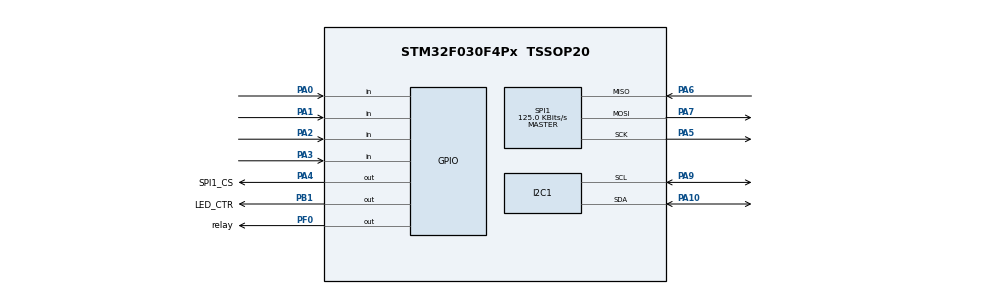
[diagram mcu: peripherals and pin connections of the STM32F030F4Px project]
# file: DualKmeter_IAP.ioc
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I2C1.OwnAddress=0x11<<1
Mcu.Family=STM32F0
Mcu.Name=STM32F030F4Px
Mcu.Package=TSSOP20
NVIC.I2C1_IRQn=true\:0\:0\:false\:false\:true\:true\:true\:true
PA0.GPIO_PuPd=GPIO_PULLUP
PA0.Signal=GPIO_Input
PA1.GPIO_PuPd=GPIO_PULLUP
PA1.Signal=GPIO_Input
PA10.Mode=I2C
PA10.Signal=I2C1_SDA
PA13.Mode=Serial_Wire
PA13.Signal=SYS_SWDIO
PA14.Mode=Serial_Wire
PA14.Signal=SYS_SWCLK
PA2.GPIO_PuPd=GPIO_PULLUP
PA2.Signal=GPIO_Input
PA3.GPIO_PuPd=GPIO_PULLUP
PA3.Signal=GPIO_Input
PA4.GPIO_Label=SPI1_CS
PA4.Signal=GPIO_Output
PA5.Mode=Full_Duplex_Master
PA5.Signal=SPI1_SCK
PA6.Mode=Full_Duplex_Master
PA6.Signal=SPI1_MISO
PA7.Mode=Full_Duplex_Master
PA7.Signal=SPI1_MOSI
PA9.Mode=I2C
PA9.Signal=I2C1_SCL
PB1.GPIO_Label=LED_CTR
PB1.Signal=GPIO_Output
PF0-OSC_IN.GPIO_Label=relay
PF0-OSC_IN.Signal=GPIO_Output
ProjectManager.HeapSize=0x200
ProjectManager.StackSize=0x400
ProjectManager.TargetToolchain=MDK-ARM V5
SPI1.BaudRatePrescaler=SPI_BAUDRATEPRESCALER_64
SPI1.CalculateBaudRate=125.0 KBits/s
SPI1.DataSize=SPI_DATASIZE_8BIT
SPI1.Direction=SPI_DIRECTION_2LINES
SPI1.Mode=SPI_MODE_MASTER
SPI1.VirtualType=VM_MASTER
board=custom

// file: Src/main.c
/* USER CODE BEGIN Header */
/**
  ******************************************************************************
  * @file           : main.c
  * @brief          : Main program body
  ******************************************************************************
  * @attention
  *
  * Copyright (c) 2022 STMicroelectronics.
  * All rights reserved.
  *
  * This software is licensed under terms that can be found in the LICENSE file
  * in the root directory of this software component.
  * If no LICENSE file comes with this software, it is provided AS-IS.
  *
  ******************************************************************************
  */
/* USER CODE END Header */
#include "main.h"

/* USER CODE BEGIN Includes */
#include "MAX31855.h"
#include "i2c_ex.h"
#include <stdio.h>
#include <string.h>
/* USER CODE END Includes */

/* USER CODE BEGIN PD */
#define FIRMWARE_VERSION 1
#define I2C1_ADDR_BASE 0x11
#define APPLICATION_ADDRESS     ((uint32_t)0x08001000)
/* USER CODE END PD */

SPI_HandleTypeDef hspi1;

/* USER CODE BEGIN PV */
volatile uint8_t fm_version = FIRMWARE_VERSION;
volatile float temperature;
volatile float internal_temperature;
uint8_t relay_sel = 0;

volatile uint8_t g_i2c_addr = 0;
volatile uint8_t g_i2c_addr_last = 0;
volatile uint8_t g_i2c_addr_filter = 0;
volatile uint8_t g_i2c_addr_sel = 0;
volatile uint8_t i2c_addr;
volatile float temp_data;
/* USER CODE END PV */

void SystemClock_Config(void);
static void MX_GPIO_Init(void);
static void MX_I2C1_Init(void);
static void MX_SPI1_Init(void);

/* USER CODE BEGIN 0 */
void IAP_Set()
{
	uint8_t i;

	uint32_t *pVecTab=(uint32_t *)(0x20000000);
	//复制中断向量表到SRAM首地址
	for(i = 0; i < 48; i++)
	{
		*(pVecTab++) = *(__IO uint32_t*)(APPLICATION_ADDRESS + (i<<2));
	}
  /* Enable the SYSCFG peripheral clock*/
#if 1 //STM32
  __HAL_RCC_SYSCFG_CLK_ENABLE();
  //重映射 SRAM 地址到 0x00000000
  __HAL_SYSCFG_REMAPMEMORY_SRAM();
#else //AMP32
    RCM_EnableAPB2PeriphClock(RCM_APB2_PERIPH_SYSCFG);
    /* Remap SRAM at 0x00000000 */
    SYSCFG->CFG1_B.MMSEL = SYSCFG_MemoryRemap_SRAM;
#endif
}

void user_i2c1_init(void)
{

  /* USER CODE BEGIN I2C1_Init 0 */

  /* USER CODE END I2C1_Init 0 */

  LL_I2C_InitTypeDef I2C_InitStruct = {0};

  LL_GPIO_InitTypeDef GPIO_InitStruct = {0};

  LL_AHB1_GRP1_EnableClock(LL_AHB1_GRP1_PERIPH_GPIOA);
  /**I2C1 GPIO Configuration
  PA9   ------> I2C1_SCL
  PA10   ------> I2C1_SDA
  */
  GPIO_InitStruct.Pin = LL_GPIO_PIN_9;
  GPIO_InitStruct.Mode = LL_GPIO_MODE_ALTERNATE;
  GPIO_InitStruct.Speed = LL_GPIO_SPEED_FREQ_HIGH;
  GPIO_InitStruct.OutputType = LL_GPIO_OUTPUT_OPENDRAIN;
  GPIO_InitStruct.Pull = LL_GPIO_PULL_NO;
  GPIO_InitStruct.Alternate = LL_GPIO_AF_4;
  LL_GPIO_Init(GPIOA, &GPIO_InitStruct);

  GPIO_InitStruct.Pin = LL_GPIO_PIN_10;
  GPIO_InitStruct.Mode = LL_GPIO_MODE_ALTERNATE;
  GPIO_InitStruct.Speed = LL_GPIO_SPEED_FREQ_HIGH;
  GPIO_InitStruct.OutputType = LL_GPIO_OUTPUT_OPENDRAIN;
  GPIO_InitStruct.Pull = LL_GPIO_PULL_NO;
  GPIO_InitStruct.Alternate = LL_GPIO_AF_4;
  LL_GPIO_Init(GPIOA, &GPIO_InitStruct);

  /* Peripheral clock enable */
  LL_APB1_GRP1_EnableClock(LL_APB1_GRP1_PERIPH_I2C1);

  /* I2C1 interrupt Init */
  NVIC_SetPriority(I2C1_IRQn, 0);
  NVIC_EnableIRQ(I2C1_IRQn);

  /* USER CODE BEGIN I2C1_Init 1 */

  /* USER CODE END I2C1_Init 1 */

  /** I2C Initialization
  */
  LL_I2C_DisableOwnAddress2(I2C1);
  LL_I2C_DisableGeneralCall(I2C1);
  LL_I2C_EnableClockStretching(I2C1);
  I2C_InitStruct.PeripheralMode = LL_I2C_MODE_I2C;
  I2C_InitStruct.Timing = 0x2000090E;
  I2C_InitStruct.AnalogFilter = LL_I2C_ANALOGFILTER_ENABLE;
  I2C_InitStruct.DigitalFilter = 0;
  I2C_InitStruct.OwnAddress1 = (I2C1_ADDR_BASE+g_i2c_addr)<<1;
  I2C_InitStruct.TypeAcknowledge = LL_I2C_ACK;
  I2C_InitStruct.OwnAddrSize = LL_I2C_OWNADDRESS1_7BIT;
  LL_I2C_Init(I2C1, &I2C_InitStruct);
  LL_I2C_EnableAutoEndMode(I2C1);
  LL_I2C_SetOwnAddress2(I2C1, 0, LL_I2C_OWNADDRESS2_NOMASK);
  /* USER CODE BEGIN I2C1_Init 2 */

  /* USER CODE END I2C1_Init 2 */
}

uint8_t read_i2c1_addr(void)
{
  uint8_t i2c1_addr = 0;

  for (int i = 0; i < 4; i++) {
    i2c1_addr |= (!(!!(GPIOA->IDR & (1 << i)))) << i;
  }

  return i2c1_addr;
}

void i2c1_addr_init(void)
{
  uint8_t i2c1_addr = 0;

  for (int i = 0; i < 10; i++) {
    i2c1_addr = read_i2c1_addr();
    if (i2c1_addr != g_i2c_addr_last) {
      g_i2c_addr_last = i2c1_addr;
      g_i2c_addr_filter = 0;

    } else {
      g_i2c_addr_filter++;
      if (g_i2c_addr_filter >= 3) {
        g_i2c_addr_filter = 0;
        g_i2c_addr = i2c1_addr;
        user_i2c1_init();
        g_i2c_addr_sel = 1;
        return;
      }
    }
    HAL_Delay(100);
  }
  MX_I2C1_Init();
  g_i2c_addr_sel = 0;
}

void set_relay(uint8_t k_num)
{
  if (k_num == 0) {
    LL_GPIO_SetOutputPin(relay_GPIO_Port, relay_Pin);
    LL_GPIO_ResetOutputPin(LED_CTR_GPIO_Port, LED_CTR_Pin);
	}
  else if (k_num == 1) {
    LL_GPIO_ResetOutputPin(relay_GPIO_Port, relay_Pin);
    LL_GPIO_SetOutputPin(LED_CTR_GPIO_Port, LED_CTR_Pin);
	}
}

void Slave_Complete_Callback(uint8_t *rx_data, uint16_t len)
{
  char temp_sign_part[2] = {0};
  char temp_integer_part[8] = {0};
  char temp_decimal_part[4] = {0};
  char temp_tx_char[8] = {0};

  if (len == 1 && (rx_data[0] <= 0x07))
  {
	  int32_t temp;
    if (rx_data[0] <= 0x03) {
      temp = ((int32_t)(temperature * 100));
    } else {
      float fahr = ( 9.0 / 5.0 ) * temperature + 32;
      temp = ((int32_t)(fahr * 100));
    }
    i2c1_set_send_data((uint8_t *)&temp, 4);
  }
  else if (len == 1 && ((rx_data[0] >= 0x10) && (rx_data[0] <= 0x17)))
  {
	  int32_t temp;
    if ((rx_data[0] >= 0x10) && (rx_data[0] <= 0x13)) {
      temp = ((int32_t)(internal_temperature * 100));
    } else {
      float fahr = ( 9.0 / 5.0 ) * internal_temperature + 32;
      temp = ((int32_t)(fahr * 100));
    }
    i2c1_set_send_data((uint8_t *)&temp, 4);
  }
  else if (len > 1 && (rx_data[0] == 0x20))
  {
    relay_sel = rx_data[1];
    if (relay_sel >= 1) {
      set_relay(1);
    } else if (relay_sel == 0) {
      set_relay(0);
    }
  }
  else if (len == 1 && (rx_data[0] == 0x20))
  {
    i2c1_set_send_data((uint8_t *)&relay_sel, 1);
  }
  else if (len == 1 && (rx_data[0] == 0x30))
  {
    i2c1_set_send_data((uint8_t *)&Error, 1);
  }
  else if (len == 1 && ((rx_data[0] >= 0x40) && (rx_data[0] <= 0x46)))
  {
	  int32_t temp, dec;

    if (temperature > 0) {
      temp_sign_part[0] = 0x2B;
    } else {
      temp_sign_part[0] = 0x2D;
    }
    temp = ((int32_t)(temperature * 100));
    if (temperature < 0) {
      temp = -temp;
    }
    dec = temp;
    temp = temp / 100;
    dec = dec - temp * 100;
    if (temp < 9999)
      sprintf(temp_integer_part, "%04d", temp);
    if (dec < 99)
      sprintf(temp_decimal_part, "%c%02d", '.', dec);
    memcpy(temp_tx_char, temp_sign_part, 1);
    memcpy(temp_tx_char+1, temp_integer_part, 4);
    memcpy(temp_tx_char+5, temp_decimal_part, 3);
    i2c1_set_send_data((uint8_t *)temp_tx_char, sizeof(temp_tx_char));
  }
  else if (len == 1 && ((rx_data[0] >= 0x50) && (rx_data[0] <= 0x56)))
  {
	  int32_t temp, dec;
    float fahr;

    fahr = ( 9.0 / 5.0 ) * temperature + 32;

    if (fahr > 0) {
      temp_sign_part[0] = 0x2B;
    } else {
      temp_sign_part[0] = 0x2D;
    }
    temp = ((int32_t)(fahr * 100));
    if (fahr < 0) {
      temp = -temp;
    }
    dec = temp;
    temp = temp / 100;

    dec = dec - temp * 100;
    if (temp < 9999)
      sprintf(temp_integer_part, "%04d", temp);
    if (dec < 99)
      sprintf(temp_decimal_part, "%c%02d", '.', dec);
    memcpy(temp_tx_char, temp_sign_part, 1);
    memcpy(temp_tx_char+1, temp_integer_part, 4);
    memcpy(temp_tx_char+5, temp_decimal_part, 3);
    i2c1_set_send_data((uint8_t *)temp_tx_char, sizeof(temp_tx_char));
  }
  else if (len == 1 && ((rx_data[0] >= 0x60) && (rx_data[0] <= 0x66)))
  {
	  int32_t temp, dec;

    if (internal_temperature > 0) {
      temp_sign_part[0] = 0x2B;
    } else {
      temp_sign_part[0] = 0x2D;
    }
    temp = ((int32_t)(internal_temperature * 100));
    if (internal_temperature < 0) {
      temp = -temp;
    }
    dec = temp;
    temp = temp / 100;
    dec = dec - temp * 100;
    if (temp < 9999)
      sprintf(temp_integer_part, "%04d", temp);
    if (dec < 99)
      sprintf(temp_decimal_part, "%c%02d", '.', dec);
    memcpy(temp_tx_char, temp_sign_part, 1);
    memcpy(temp_tx_char+1, temp_integer_part, 4);
    memcpy(temp_tx_char+5, temp_decimal_part, 3);
    i2c1_set_send_data((uint8_t *)temp_tx_char, sizeof(temp_tx_char));
  }
  else if (len == 1 && ((rx_data[0] >= 0x70) && (rx_data[0] <= 0x76)))
  {
	  int32_t temp, dec;
    float fahr;

    fahr = ( 9.0 / 5.0 ) * internal_temperature + 32;

    if (fahr > 0) {
      temp_sign_part[0] = 0x2B;
    } else {
      temp_sign_part[0] = 0x2D;
    }
    temp = ((int32_t)(fahr * 100));
    if (fahr < 0) {
      temp = -temp;
    }
    dec = temp;
    temp = temp / 100;
    dec = dec - temp * 100;
    if (temp < 9999)
      sprintf(temp_integer_part, "%04d", temp);
    if (dec < 99)
      sprintf(temp_decimal_part, "%c%02d", '.', dec);
    memcpy(temp_tx_char, temp_sign_part, 1);
    memcpy(temp_tx_char+1, temp_integer_part, 4);
    memcpy(temp_tx_char+5, temp_decimal_part, 3);
    i2c1_set_send_data((uint8_t *)temp_tx_char, sizeof(temp_tx_char));
  }
  else if (len > 1 && (rx_data[0] == 0x20))
  {
    relay_sel = rx_data[1];
    if (relay_sel >= 1) {
      set_relay(1);
    } else if (relay_sel == 0) {
      set_relay(0);
    }
  }
  else if (len == 1 && (rx_data[0] == 0xFE))
  {
    i2c1_set_send_data((uint8_t *)&fm_version, 1);
  }
}
/* USER CODE END 0 */

int main(void)
{
  /* USER CODE BEGIN 1 */
  IAP_Set();
  /* USER CODE END 1 */

  /* MCU Configuration--------------------------------------------------------*/

  /* Reset of all peripherals, Initializes the Flash interface and the Systick. */
  HAL_Init();

  /* Configure the system clock */
  SystemClock_Config();

  /* Initialize all configured peripherals */
  MX_GPIO_Init();
  MX_I2C1_Init();
  MX_SPI1_Init();
  /* USER CODE BEGIN 2 */
  set_relay(0);
	i2c1_addr_init();
  if (g_i2c_addr_sel) {
    i2c_addr = (I2C1_ADDR_BASE+g_i2c_addr)<<1;
  } else {
    i2c_addr = (I2C1_ADDR_BASE)<<1;
  }
  i2c1_it_enable();
  /* USER CODE END 2 */

  /* Infinite loop */
  /* USER CODE BEGIN WHILE */
  while (1)
  {
    temp_data = temperature;
    temperature = Max31855_Read_Temp_With_Filter();
    if (temperature == 0.0) {
      temperature = temp_data;
    }
    LL_mDelay(10);
    /* USER CODE END WHILE */

  }
}

void SystemClock_Config(void)
{
  LL_FLASH_SetLatency(LL_FLASH_LATENCY_0);
  while(LL_FLASH_GetLatency() != LL_FLASH_LATENCY_0)
  {
  }
  LL_RCC_HSI_Enable();

   /* Wait till HSI is ready */
  while(LL_RCC_HSI_IsReady() != 1)
  {

  }
  LL_RCC_HSI_SetCalibTrimming(16);
  LL_RCC_SetAHBPrescaler(LL_RCC_SYSCLK_DIV_1);
  LL_RCC_SetAPB1Prescaler(LL_RCC_APB1_DIV_1);
  LL_RCC_SetSysClkSource(LL_RCC_SYS_CLKSOURCE_HSI);

   /* Wait till System clock is ready */
  while(LL_RCC_GetSysClkSource() != LL_RCC_SYS_CLKSOURCE_STATUS_HSI)
  {

  }
  LL_SetSystemCoreClock(8000000);

   /* Update the time base */
  if (HAL_InitTick (TICK_INT_PRIORITY) != HAL_OK)
  {
    Error_Handler();
  }
  LL_RCC_SetI2CClockSource(LL_RCC_I2C1_CLKSOURCE_HSI);
}

static void MX_I2C1_Init(void)
{

  LL_I2C_InitTypeDef I2C_InitStruct = {0};

  LL_GPIO_InitTypeDef GPIO_InitStruct = {0};

  LL_AHB1_GRP1_EnableClock(LL_AHB1_GRP1_PERIPH_GPIOA);
  /**I2C1 GPIO Configuration
  PA9   ------> I2C1_SCL
  PA10   ------> I2C1_SDA
  */
  GPIO_InitStruct.Pin = LL_GPIO_PIN_9;
  GPIO_InitStruct.Mode = LL_GPIO_MODE_ALTERNATE;
  GPIO_InitStruct.Speed = LL_GPIO_SPEED_FREQ_HIGH;
  GPIO_InitStruct.OutputType = LL_GPIO_OUTPUT_OPENDRAIN;
  GPIO_InitStruct.Pull = LL_GPIO_PULL_NO;
  GPIO_InitStruct.Alternate = LL_GPIO_AF_4;
  LL_GPIO_Init(GPIOA, &GPIO_InitStruct);

  GPIO_InitStruct.Pin = LL_GPIO_PIN_10;
  GPIO_InitStruct.Mode = LL_GPIO_MODE_ALTERNATE;
  GPIO_InitStruct.Speed = LL_GPIO_SPEED_FREQ_HIGH;
  GPIO_InitStruct.OutputType = LL_GPIO_OUTPUT_OPENDRAIN;
  GPIO_InitStruct.Pull = LL_GPIO_PULL_NO;
  GPIO_InitStruct.Alternate = LL_GPIO_AF_4;
  LL_GPIO_Init(GPIOA, &GPIO_InitStruct);

  /* Peripheral clock enable */
  LL_APB1_GRP1_EnableClock(LL_APB1_GRP1_PERIPH_I2C1);

  /* I2C1 interrupt Init */
  NVIC_SetPriority(I2C1_IRQn, 0);
  NVIC_EnableIRQ(I2C1_IRQn);

  /** I2C Initialization
  */
  LL_I2C_DisableOwnAddress2(I2C1);
  LL_I2C_DisableGeneralCall(I2C1);
  LL_I2C_EnableClockStretching(I2C1);
  I2C_InitStruct.PeripheralMode = LL_I2C_MODE_I2C;
  I2C_InitStruct.Timing = 0x2000090E;
  I2C_InitStruct.AnalogFilter = LL_I2C_ANALOGFILTER_ENABLE;
  I2C_InitStruct.DigitalFilter = 0;
  I2C_InitStruct.OwnAddress1 = 0x11<<1;
  I2C_InitStruct.TypeAcknowledge = LL_I2C_ACK;
  I2C_InitStruct.OwnAddrSize = LL_I2C_OWNADDRESS1_7BIT;
  LL_I2C_Init(I2C1, &I2C_InitStruct);
  LL_I2C_EnableAutoEndMode(I2C1);
  LL_I2C_SetOwnAddress2(I2C1, 0, LL_I2C_OWNADDRESS2_NOMASK);

}

static void MX_SPI1_Init(void)
{

  /* SPI1 parameter configuration*/
  hspi1.Instance = SPI1;
  hspi1.Init.Mode = SPI_MODE_MASTER;
  hspi1.Init.Direction = SPI_DIRECTION_2LINES;
  hspi1.Init.DataSize = SPI_DATASIZE_8BIT;
  hspi1.Init.CLKPolarity = SPI_POLARITY_LOW;
  hspi1.Init.CLKPhase = SPI_PHASE_1EDGE;
  hspi1.Init.NSS = SPI_NSS_SOFT;
  hspi1.Init.BaudRatePrescaler = SPI_BAUDRATEPRESCALER_64;
  hspi1.Init.FirstBit = SPI_FIRSTBIT_MSB;
  hspi1.Init.TIMode = SPI_TIMODE_DISABLE;
  hspi1.Init.CRCCalculation = SPI_CRCCALCULATION_DISABLE;
  hspi1.Init.CRCPolynomial = 7;
  hspi1.Init.CRCLength = SPI_CRC_LENGTH_DATASIZE;
  hspi1.Init.NSSPMode = SPI_NSS_PULSE_ENABLE;
  if (HAL_SPI_Init(&hspi1) != HAL_OK)
  {
    Error_Handler();
  }

}

static void MX_GPIO_Init(void)
{
  LL_GPIO_InitTypeDef GPIO_InitStruct = {0};

  /* GPIO Ports Clock Enable */
  LL_AHB1_GRP1_EnableClock(LL_AHB1_GRP1_PERIPH_GPIOF);
  LL_AHB1_GRP1_EnableClock(LL_AHB1_GRP1_PERIPH_GPIOA);
  LL_AHB1_GRP1_EnableClock(LL_AHB1_GRP1_PERIPH_GPIOB);

  /**/
  LL_GPIO_ResetOutputPin(relay_GPIO_Port, relay_Pin);

  /**/
  LL_GPIO_ResetOutputPin(SPI1_CS_GPIO_Port, SPI1_CS_Pin);

  /**/
  LL_GPIO_ResetOutputPin(LED_CTR_GPIO_Port, LED_CTR_Pin);

  /**/
  GPIO_InitStruct.Pin = relay_Pin;
  GPIO_InitStruct.Mode = LL_GPIO_MODE_OUTPUT;
  GPIO_InitStruct.Speed = LL_GPIO_SPEED_FREQ_LOW;
  GPIO_InitStruct.OutputType = LL_GPIO_OUTPUT_PUSHPULL;
  GPIO_InitStruct.Pull = LL_GPIO_PULL_NO;
  LL_GPIO_Init(relay_GPIO_Port, &GPIO_InitStruct);

  /**/
  GPIO_InitStruct.Pin = LL_GPIO_PIN_0;
  GPIO_InitStruct.Mode = LL_GPIO_MODE_INPUT;
  GPIO_InitStruct.Pull = LL_GPIO_PULL_UP;
  LL_GPIO_Init(GPIOA, &GPIO_InitStruct);

  /**/
  GPIO_InitStruct.Pin = LL_GPIO_PIN_1;
  GPIO_InitStruct.Mode = LL_GPIO_MODE_INPUT;
  GPIO_InitStruct.Pull = LL_GPIO_PULL_UP;
  LL_GPIO_Init(GPIOA, &GPIO_InitStruct);

  /**/
  GPIO_InitStruct.Pin = LL_GPIO_PIN_2;
  GPIO_InitStruct.Mode = LL_GPIO_MODE_INPUT;
  GPIO_InitStruct.Pull = LL_GPIO_PULL_UP;
  LL_GPIO_Init(GPIOA, &GPIO_InitStruct);

  /**/
  GPIO_InitStruct.Pin = LL_GPIO_PIN_3;
  GPIO_InitStruct.Mode = LL_GPIO_MODE_INPUT;
  GPIO_InitStruct.Pull = LL_GPIO_PULL_UP;
  LL_GPIO_Init(GPIOA, &GPIO_InitStruct);

  /**/
  GPIO_InitStruct.Pin = SPI1_CS_Pin;
  GPIO_InitStruct.Mode = LL_GPIO_MODE_OUTPUT;
  GPIO_InitStruct.Speed = LL_GPIO_SPEED_FREQ_LOW;
  GPIO_InitStruct.OutputType = LL_GPIO_OUTPUT_PUSHPULL;
  GPIO_InitStruct.Pull = LL_GPIO_PULL_NO;
  LL_GPIO_Init(SPI1_CS_GPIO_Port, &GPIO_InitStruct);

  /**/
  GPIO_InitStruct.Pin = LED_CTR_Pin;
  GPIO_InitStruct.Mode = LL_GPIO_MODE_OUTPUT;
  GPIO_InitStruct.Speed = LL_GPIO_SPEED_FREQ_LOW;
  GPIO_InitStruct.OutputType = LL_GPIO_OUTPUT_PUSHPULL;
  GPIO_InitStruct.Pull = LL_GPIO_PULL_NO;
  LL_GPIO_Init(LED_CTR_GPIO_Port, &GPIO_InitStruct);

}

void Error_Handler(void)
{
  __disable_irq();
  while (1)
  {
  }
}
